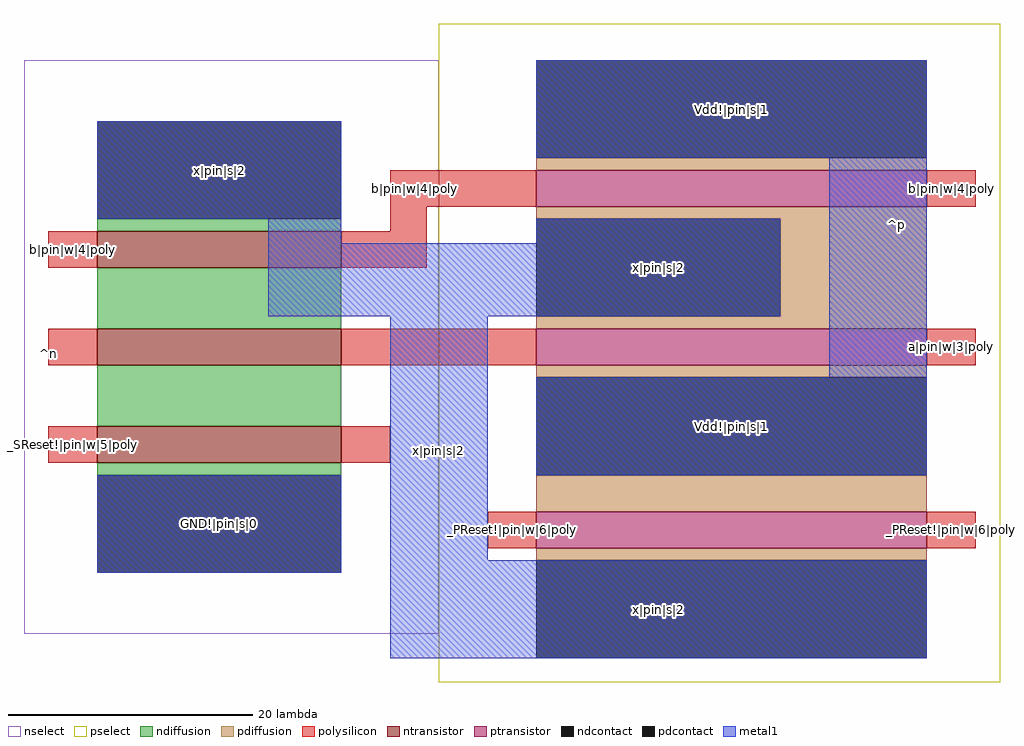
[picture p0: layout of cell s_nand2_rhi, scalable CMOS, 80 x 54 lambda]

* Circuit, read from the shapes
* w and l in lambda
.subckt s_nand2_rhi GND!|pin|s|0 Vdd!|pin|s|1 _PReset!|pin|w|6|poly _SReset!|pin|w|5|poly a|pin|w|3|poly b|pin|w|4|poly x|pin|s|2
M1 n1 _SReset!|pin|w|5|poly GND!|pin|s|0 VSUBS nfet w=20 l=3
M2 n2 a|pin|w|3|poly n1 VSUBS nfet w=20 l=3
M3 x|pin|s|2 b|pin|w|4|poly n2 VSUBS nfet w=20 l=3
M4 Vdd!|pin|s|1 _PReset!|pin|w|6|poly x|pin|s|2 NWELL pfet w=32 l=3
M5 x|pin|s|2 a|pin|w|3|poly Vdd!|pin|s|1 NWELL pfet w=32 l=3
M6 Vdd!|pin|s|1 b|pin|w|4|poly x|pin|s|2 NWELL pfet w=32 l=3
.ends

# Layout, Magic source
magic
tech scmos
<< nselect >>
rect -34 71 0 118
<< pselect >>
rect 0 67 46 121
<< ndiffusion >>
rect -28 104 -8 105
rect -28 96 -8 101
rect -28 88 -8 93
rect -28 84 -8 85
<< pdiffusion >>
rect 8 109 40 110
rect 8 105 40 106
rect 28 97 40 105
rect 8 96 40 97
rect 8 92 40 93
rect 8 81 40 84
rect 8 77 40 78
<< ntransistor >>
rect -28 101 -8 104
rect -28 93 -8 96
rect -28 85 -8 88
<< ptransistor >>
rect 8 106 40 109
rect 8 93 40 96
rect 8 78 40 81
<< polysilicon >>
rect -4 106 8 109
rect 40 106 44 109
rect -4 104 -1 106
rect -32 101 -28 104
rect -8 101 -1 104
rect -32 93 -28 96
rect -8 93 8 96
rect 40 93 44 96
rect -32 85 -28 88
rect -8 85 -4 88
rect 4 78 8 81
rect 40 78 44 81
<< ndcontact >>
rect -28 105 -8 113
rect -28 76 -8 84
<< pdcontact >>
rect 8 110 40 118
rect 8 97 28 105
rect 8 84 40 92
rect 8 69 40 77
<< metal1 >>
rect -28 105 -8 113
rect 8 110 40 118
rect -14 103 -8 105
rect 8 103 28 105
rect -14 97 28 103
rect -28 76 -8 84
rect -4 77 4 97
rect 32 92 40 110
rect 8 84 40 92
rect -4 69 40 77
<< labels >>
rlabel space -36 67 -28 121 7 ^n
rlabel space 28 88 47 121 3 ^p
rlabel metal1 -28 76 -8 84 1 GND!|pin|s|0
rlabel metal1 -4 69 4 103 1 x|pin|s|2
rlabel metal1 -28 105 -8 113 1 x|pin|s|2
rlabel metal1 8 97 28 105 1 x|pin|s|2
rlabel metal1 -4 69 40 77 1 x|pin|s|2
rlabel polysilicon 40 93 44 96 1 a|pin|w|3|poly
rlabel polysilicon -32 93 -28 96 1 a|pin|w|3|poly
rlabel polysilicon -32 85 -28 88 1 _SReset!|pin|w|5|poly
rlabel polysilicon -8 85 -4 88 1 _SReset!|pin|w|5|poly
rlabel polysilicon -32 101 -28 104 1 b|pin|w|4|poly
rlabel polysilicon -4 106 0 109 1 b|pin|w|4|poly
rlabel polysilicon 40 106 44 109 1 b|pin|w|4|poly
rlabel polysilicon 4 78 8 81 1 _PReset!|pin|w|6|poly
rlabel polysilicon 40 78 44 81 1 _PReset!|pin|w|6|poly
rlabel metal1 32 92 40 118 1 Vdd!|pin|s|1
rlabel metal1 8 110 40 118 1 Vdd!|pin|s|1
rlabel metal1 8 84 40 92 1 Vdd!|pin|s|1
<< end >>
